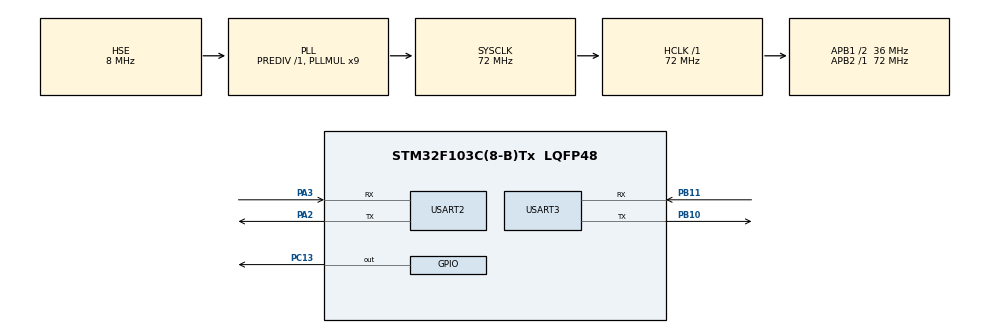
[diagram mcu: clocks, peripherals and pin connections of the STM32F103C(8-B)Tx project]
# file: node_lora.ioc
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Dma.Request0=USART2_RX
Dma.Request1=USART2_TX
Dma.Request2=USART3_RX
Dma.Request3=USART3_TX
Dma.USART2_RX.0.Direction=DMA_PERIPH_TO_MEMORY
Dma.USART2_RX.0.Instance=DMA1_Channel6
Dma.USART2_RX.0.MemDataAlignment=DMA_MDATAALIGN_BYTE
Dma.USART2_RX.0.MemInc=DMA_MINC_ENABLE
Dma.USART2_RX.0.Mode=DMA_CIRCULAR
Dma.USART2_RX.0.PeriphDataAlignment=DMA_PDATAALIGN_BYTE
Dma.USART2_RX.0.PeriphInc=DMA_PINC_DISABLE
Dma.USART2_RX.0.Priority=DMA_PRIORITY_LOW
Dma.USART2_TX.1.Direction=DMA_MEMORY_TO_PERIPH
Dma.USART2_TX.1.Instance=DMA1_Channel7
Dma.USART2_TX.1.MemDataAlignment=DMA_MDATAALIGN_BYTE
Dma.USART2_TX.1.MemInc=DMA_MINC_ENABLE
Dma.USART2_TX.1.Mode=DMA_CIRCULAR
Dma.USART2_TX.1.PeriphDataAlignment=DMA_PDATAALIGN_BYTE
Dma.USART2_TX.1.PeriphInc=DMA_PINC_DISABLE
Dma.USART2_TX.1.Priority=DMA_PRIORITY_LOW
Dma.USART3_RX.2.Direction=DMA_PERIPH_TO_MEMORY
Dma.USART3_RX.2.Instance=DMA1_Channel3
Dma.USART3_RX.2.MemDataAlignment=DMA_MDATAALIGN_BYTE
Dma.USART3_RX.2.MemInc=DMA_MINC_ENABLE
Dma.USART3_RX.2.Mode=DMA_CIRCULAR
Dma.USART3_RX.2.PeriphDataAlignment=DMA_PDATAALIGN_BYTE
Dma.USART3_RX.2.PeriphInc=DMA_PINC_DISABLE
Dma.USART3_RX.2.Priority=DMA_PRIORITY_LOW
Dma.USART3_TX.3.Direction=DMA_MEMORY_TO_PERIPH
Dma.USART3_TX.3.Instance=DMA1_Channel2
Dma.USART3_TX.3.MemDataAlignment=DMA_MDATAALIGN_BYTE
Dma.USART3_TX.3.MemInc=DMA_MINC_ENABLE
Dma.USART3_TX.3.Mode=DMA_CIRCULAR
Dma.USART3_TX.3.PeriphDataAlignment=DMA_PDATAALIGN_BYTE
Dma.USART3_TX.3.PeriphInc=DMA_PINC_DISABLE
Dma.USART3_TX.3.Priority=DMA_PRIORITY_LOW
Mcu.Family=STM32F1
Mcu.Name=STM32F103C(8-B)Tx
Mcu.Package=LQFP48
NVIC.DMA1_Channel2_IRQn=true\:0\:0\:false\:false\:true\:false\:true
NVIC.DMA1_Channel3_IRQn=true\:0\:0\:false\:false\:true\:false\:true
NVIC.DMA1_Channel6_IRQn=true\:0\:0\:false\:false\:true\:false\:true
NVIC.DMA1_Channel7_IRQn=true\:0\:0\:false\:false\:true\:false\:true
NVIC.PriorityGroup=NVIC_PRIORITYGROUP_4
PA13.Mode=Serial_Wire
PA13.Signal=SYS_JTMS-SWDIO
PA14.Mode=Serial_Wire
PA14.Signal=SYS_JTCK-SWCLK
PA2.Mode=Asynchronous
PA2.Signal=USART2_TX
PA3.Mode=Asynchronous
PA3.Signal=USART2_RX
PB10.Mode=Asynchronous
PB10.Signal=USART3_TX
PB11.Mode=Asynchronous
PB11.Signal=USART3_RX
PC13-TAMPER-RTC.Signal=GPIO_Output
PD0-OSC_IN.Mode=HSE-External-Oscillator
PD0-OSC_IN.Signal=RCC_OSC_IN
PD1-OSC_OUT.Mode=HSE-External-Oscillator
PD1-OSC_OUT.Signal=RCC_OSC_OUT
ProjectManager.HeapSize=0x200
ProjectManager.StackSize=0x400
ProjectManager.TargetToolchain=STM32CubeIDE
RCC.AHBFreq_Value=72000000
RCC.APB1CLKDivider=RCC_HCLK_DIV2
RCC.APB1Freq_Value=36000000
RCC.APB1TimFreq_Value=72000000
RCC.APB2Freq_Value=72000000
RCC.APB2TimFreq_Value=72000000
RCC.HCLKFreq_Value=72000000
RCC.PLLMUL=RCC_PLL_MUL9
RCC.PLLSourceVirtual=RCC_PLLSOURCE_HSE
RCC.SYSCLKFreq_VALUE=72000000
RCC.SYSCLKSource=RCC_SYSCLKSOURCE_PLLCLK
RCC.USBFreq_Value=72000000
USART2.VirtualMode=VM_ASYNC
USART3.VirtualMode=VM_ASYNC
board=custom

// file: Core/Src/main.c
/* USER CODE BEGIN Header */
/**
  ******************************************************************************
  * @file           : main.c
  * @brief          : Main program body
  ******************************************************************************
  * @attention
  *
  * <h2><center>&copy; Copyright (c) 2020 STMicroelectronics.
  * All rights reserved.</center></h2>
  *
  * This software component is licensed by ST under BSD 3-Clause license,
  * the "License"; You may not use this file except in compliance with the
  * License. You may obtain a copy of the License at:
  *                        opensource.org/licenses/BSD-3-Clause
  *
  ******************************************************************************
  */
/* USER CODE END Header */

#include "main.h"

/* USER CODE BEGIN Includes */
#include "modbus.h"
/* USER CODE END Includes */

UART_HandleTypeDef huart2;
UART_HandleTypeDef huart3;
DMA_HandleTypeDef hdma_usart2_rx;
DMA_HandleTypeDef hdma_usart2_tx;
DMA_HandleTypeDef hdma_usart3_rx;
DMA_HandleTypeDef hdma_usart3_tx;

void SystemClock_Config(void);
static void MX_GPIO_Init(void);
static void MX_DMA_Init(void);
static void MX_USART2_UART_Init(void);
static void MX_USART3_UART_Init(void);
/* USER CODE BEGIN PFP */
uint8_t data_lora[64];
uint8_t data_modbus[128];
uint8_t length_function;
uint8_t packet_command;
uint8_t header_lora[3];
uint8_t testing[2] = {1, 1};
uint8_t header_sync;
uint16_t send_header = 12345;
uint16_t send_footer = 34567;
uint32_t millis = 0;

/* USER CODE END PFP */

int main(void)
{

  /* MCU Configuration--------------------------------------------------------*/

  /* Reset of all peripherals, Initializes the Flash interface and the Systick. */
  HAL_Init();

  /* Configure the system clock */
  SystemClock_Config();

  /* Initialize all configured peripherals */
  MX_GPIO_Init();
  MX_DMA_Init();
  MX_USART2_UART_Init();
  MX_USART3_UART_Init();
  /* USER CODE BEGIN 2 */
  HAL_UART_Receive_DMA(&huart2, header_lora, 3);
  data_modbus[0] = (uint8_t)(send_header >> 8 & 0xff);
  data_modbus[1] = (uint8_t)(send_header & 0xff);
  /* USER CODE END 2 */

  /* Infinite loop */
  while (1)
  {

  }
}

void SystemClock_Config(void)
{
  RCC_OscInitTypeDef RCC_OscInitStruct = {0};
  RCC_ClkInitTypeDef RCC_ClkInitStruct = {0};

  /** Initializes the CPU, AHB and APB busses clocks
  */
  RCC_OscInitStruct.OscillatorType = RCC_OSCILLATORTYPE_HSE;
  RCC_OscInitStruct.HSEState = RCC_HSE_ON;
  RCC_OscInitStruct.HSEPredivValue = RCC_HSE_PREDIV_DIV1;
  RCC_OscInitStruct.HSIState = RCC_HSI_ON;
  RCC_OscInitStruct.PLL.PLLState = RCC_PLL_ON;
  RCC_OscInitStruct.PLL.PLLSource = RCC_PLLSOURCE_HSE;
  RCC_OscInitStruct.PLL.PLLMUL = RCC_PLL_MUL9;
  if (HAL_RCC_OscConfig(&RCC_OscInitStruct) != HAL_OK)
  {
    Error_Handler();
  }
  /** Initializes the CPU, AHB and APB busses clocks
  */
  RCC_ClkInitStruct.ClockType = RCC_CLOCKTYPE_HCLK|RCC_CLOCKTYPE_SYSCLK
                              |RCC_CLOCKTYPE_PCLK1|RCC_CLOCKTYPE_PCLK2;
  RCC_ClkInitStruct.SYSCLKSource = RCC_SYSCLKSOURCE_PLLCLK;
  RCC_ClkInitStruct.AHBCLKDivider = RCC_SYSCLK_DIV1;
  RCC_ClkInitStruct.APB1CLKDivider = RCC_HCLK_DIV2;
  RCC_ClkInitStruct.APB2CLKDivider = RCC_HCLK_DIV1;

  if (HAL_RCC_ClockConfig(&RCC_ClkInitStruct, FLASH_LATENCY_2) != HAL_OK)
  {
    Error_Handler();
  }
}

static void MX_USART2_UART_Init(void)
{

  huart2.Instance = USART2;
  huart2.Init.BaudRate = 115200;
  huart2.Init.WordLength = UART_WORDLENGTH_8B;
  huart2.Init.StopBits = UART_STOPBITS_1;
  huart2.Init.Parity = UART_PARITY_NONE;
  huart2.Init.Mode = UART_MODE_TX_RX;
  huart2.Init.HwFlowCtl = UART_HWCONTROL_NONE;
  huart2.Init.OverSampling = UART_OVERSAMPLING_16;
  if (HAL_UART_Init(&huart2) != HAL_OK)
  {
    Error_Handler();
  }

}

static void MX_USART3_UART_Init(void)
{

  huart3.Instance = USART3;
  huart3.Init.BaudRate = 115200;
  huart3.Init.WordLength = UART_WORDLENGTH_8B;
  huart3.Init.StopBits = UART_STOPBITS_1;
  huart3.Init.Parity = UART_PARITY_NONE;
  huart3.Init.Mode = UART_MODE_TX_RX;
  huart3.Init.HwFlowCtl = UART_HWCONTROL_NONE;
  huart3.Init.OverSampling = UART_OVERSAMPLING_16;
  if (HAL_UART_Init(&huart3) != HAL_OK)
  {
    Error_Handler();
  }

}

static void MX_DMA_Init(void)
{

  /* DMA controller clock enable */
  __HAL_RCC_DMA1_CLK_ENABLE();

  /* DMA interrupt init */
  /* DMA1_Channel2_IRQn interrupt configuration */
  HAL_NVIC_SetPriority(DMA1_Channel2_IRQn, 0, 0);
  HAL_NVIC_EnableIRQ(DMA1_Channel2_IRQn);
  /* DMA1_Channel3_IRQn interrupt configuration */
  HAL_NVIC_SetPriority(DMA1_Channel3_IRQn, 0, 0);
  HAL_NVIC_EnableIRQ(DMA1_Channel3_IRQn);
  /* DMA1_Channel6_IRQn interrupt configuration */
  HAL_NVIC_SetPriority(DMA1_Channel6_IRQn, 0, 0);
  HAL_NVIC_EnableIRQ(DMA1_Channel6_IRQn);
  /* DMA1_Channel7_IRQn interrupt configuration */
  HAL_NVIC_SetPriority(DMA1_Channel7_IRQn, 0, 0);
  HAL_NVIC_EnableIRQ(DMA1_Channel7_IRQn);

}

static void MX_GPIO_Init(void)
{
  GPIO_InitTypeDef GPIO_InitStruct = {0};

  /* GPIO Ports Clock Enable */
  __HAL_RCC_GPIOC_CLK_ENABLE();
  __HAL_RCC_GPIOD_CLK_ENABLE();
  __HAL_RCC_GPIOA_CLK_ENABLE();
  __HAL_RCC_GPIOB_CLK_ENABLE();

  /*Configure GPIO pin Output Level */
  HAL_GPIO_WritePin(GPIOC, GPIO_PIN_13, GPIO_PIN_RESET);

  /*Configure GPIO pin : PC13 */
  GPIO_InitStruct.Pin = GPIO_PIN_13;
  GPIO_InitStruct.Mode = GPIO_MODE_OUTPUT_PP;
  GPIO_InitStruct.Pull = GPIO_NOPULL;
  GPIO_InitStruct.Speed = GPIO_SPEED_FREQ_LOW;
  HAL_GPIO_Init(GPIOC, &GPIO_InitStruct);

}

/* USER CODE BEGIN 4 */
void HAL_UART_RxCpltCallback(UART_HandleTypeDef *huart)
{

	if(huart->Instance == USART2) {
		HAL_UART_AbortReceive_IT(&huart2);
		if((uint16_t)(header_lora[0] << 8 ^ header_lora[1]) == 23169 && header_sync == 0) {
			HAL_UART_Receive_DMA(&huart2, data_lora, header_lora[2] + 3);
			header_sync = 1;
		}else if(header_sync == 1){
			packet_command = data_lora[0];
			length_function = get_receive_length(&data_lora[1], header_lora[2]);
			HAL_UART_Receive_DMA(&huart3, &data_modbus[3], length_function);
			HAL_UART_Receive_DMA(&huart2, header_lora, 3);
			header_sync = 0;
			HAL_GPIO_TogglePin(GPIOC, GPIO_PIN_13);
			HAL_UART_Transmit_DMA(&huart3, &data_lora[1], header_lora[2]);

		}
	}else{
		HAL_UART_DMAStop(&huart3);
		data_modbus[2] = packet_command;
		data_modbus[3 + length_function] = (uint8_t)(send_footer >> 8 & 0xff);
		data_modbus[4 + length_function] = (uint8_t)(send_footer & 0xff);
		HAL_UART_Transmit_DMA(&huart2, data_modbus, length_function + 5);

	}
}
void HAL_UART_TxCpltCallback(UART_HandleTypeDef *huart)
{
  HAL_UART_AbortTransmit_IT(huart);
}
/* USER CODE END 4 */

void Error_Handler(void)
{
}

/************************ (C) COPYRIGHT STMicroelectronics *****END OF FILE****/
